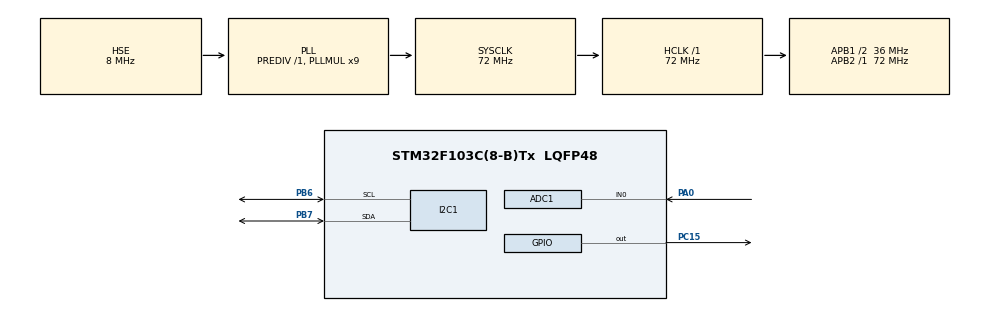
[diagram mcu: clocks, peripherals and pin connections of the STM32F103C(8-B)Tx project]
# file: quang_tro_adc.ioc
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ADC1.Channel-0\#ChannelRegularConversion=ADC_CHANNEL_0
ADC1.ContinuousConvMode=ENABLE
ADC1.NbrOfConversionFlag=1
ADC1.Rank-0\#ChannelRegularConversion=1
ADC1.SamplingTime-0\#ChannelRegularConversion=ADC_SAMPLETIME_239CYCLES_5
ADC1.master=1
Mcu.Family=STM32F1
Mcu.Name=STM32F103C(8-B)Tx
Mcu.Package=LQFP48
NVIC.ADC1_2_IRQn=true\:0\:0\:false\:false\:true\:true\:true\:true
NVIC.PriorityGroup=NVIC_PRIORITYGROUP_4
PA0-WKUP.Signal=ADCx_IN0
PA13.Mode=Serial_Wire
PA13.Signal=SYS_JTMS-SWDIO
PA14.Mode=Serial_Wire
PA14.Signal=SYS_JTCK-SWCLK
PB6.Mode=I2C
PB6.Signal=I2C1_SCL
PB7.Mode=I2C
PB7.Signal=I2C1_SDA
PC15-OSC32_OUT.GPIO_Speed=GPIO_SPEED_FREQ_HIGH
PC15-OSC32_OUT.PinState=GPIO_PIN_SET
PC15-OSC32_OUT.Signal=GPIO_Output
PD0-OSC_IN.Mode=HSE-External-Oscillator
PD0-OSC_IN.Signal=RCC_OSC_IN
PD1-OSC_OUT.Mode=HSE-External-Oscillator
PD1-OSC_OUT.Signal=RCC_OSC_OUT
ProjectManager.HeapSize=0x200
ProjectManager.StackSize=0x400
ProjectManager.TargetToolchain=MDK-ARM V5.32
RCC.ADCPresc=RCC_ADCPCLK2_DIV6
RCC.AHBFreq_Value=72000000
RCC.APB1CLKDivider=RCC_HCLK_DIV2
RCC.APB1Freq_Value=36000000
RCC.APB1TimFreq_Value=72000000
RCC.APB2Freq_Value=72000000
RCC.APB2TimFreq_Value=72000000
RCC.HCLKFreq_Value=72000000
RCC.PLLMUL=RCC_PLL_MUL9
RCC.PLLSourceVirtual=RCC_PLLSOURCE_HSE
RCC.SYSCLKFreq_VALUE=72000000
RCC.SYSCLKSource=RCC_SYSCLKSOURCE_PLLCLK
RCC.USBFreq_Value=72000000
SH.ADCx_IN0.0=ADC1_IN0,IN0
board=custom

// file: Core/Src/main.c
/* USER CODE BEGIN Header */
/**
  ******************************************************************************
  * @file           : main.c
  * @brief          : Main program body
  ******************************************************************************
  * @attention
  *
  * Copyright (c) 2022 STMicroelectronics.
  * All rights reserved.
  *
  * This software is licensed under terms that can be found in the LICENSE file
  * in the root directory of this software component.
  * If no LICENSE file comes with this software, it is provided AS-IS.
  *
  ******************************************************************************
  */
/* USER CODE END Header */
#include "main.h"

/* USER CODE BEGIN Includes */
#include "i2c-lcd.h"
/* USER CODE END Includes */

 ADC_HandleTypeDef hadc1;

I2C_HandleTypeDef hi2c1;

void SystemClock_Config(void);
static void MX_GPIO_Init(void);
static void MX_I2C1_Init(void);
static void MX_ADC1_Init(void);

/* USER CODE BEGIN 0 */
#define MAX_SAMPLE 30
typedef struct
{
	uint8_t index;
	uint8_t flag;
	uint32_t val;
	uint32_t tAdc;
	uint32_t sum;
}ADC_TypeDef_t;

ADC_TypeDef_t adc;

void HAL_ADC_ConvCpltCallback(ADC_HandleTypeDef *hadc)
{
	adc.sum += HAL_ADC_GetValue(hadc);
	adc.index++;
	if(adc.index == (MAX_SAMPLE-1))
	{
		adc.val = adc.sum/MAX_SAMPLE;
		adc.sum = 0;
		adc.flag = 1;
		adc.index = 0;
	}
	HAL_ADC_Stop_IT(hadc);
}
/* USER CODE END 0 */

int main(void)
{

  /* MCU Configuration--------------------------------------------------------*/

  /* Reset of all peripherals, Initializes the Flash interface and the Systick. */
  HAL_Init();

  /* Configure the system clock */
  SystemClock_Config();

  /* Initialize all configured peripherals */
  MX_GPIO_Init();
  MX_I2C1_Init();
  MX_ADC1_Init();
  /* USER CODE BEGIN 2 */
	HAL_ADCEx_Calibration_Start(&hadc1);
	lcd_init();
  /* USER CODE END 2 */

  /* Infinite loop */
  while (1)
  {

    /* USER CODE BEGIN 3 */
		if(HAL_GetTick() - adc.tAdc >= 10)
		{
			HAL_ADC_Start_IT(&hadc1);
			adc.tAdc = HAL_GetTick();
		}
		if(adc.flag)
		{
			if(adc.val < 3000)
				{
					HAL_GPIO_WritePin(GPIOC, GPIO_PIN_15, GPIO_PIN_RESET);
					lcd_put_cur(0,0);
					lcd_send_string("LED tat");
					lcd_send_cmd(0x80|0x40);s
					lcd_send_string("Gia tri QT: ");
					lcd_send_data(((adc.val)/1000) + 48);
					lcd_send_data((((adc.val)%1000)/100) + 48);
					lcd_send_data((((adc.val)%100)/10) + 48);
					lcd_send_data(((adc.val)%10) + 48);
				}
			if(adc.val >= 3000)
			{
					HAL_GPIO_WritePin(GPIOC, GPIO_PIN_15, GPIO_PIN_SET);
					lcd_put_cur(0,0);
					lcd_send_string("LED sang");
					lcd_send_cmd(0x80|0x40);
					lcd_send_string("Gia tri QT: ");
					lcd_send_data(((adc.val)/1000) + 48);
					lcd_send_data((((adc.val)%1000)/100) + 48);
					lcd_send_data((((adc.val)%100)/10) + 48);
					lcd_send_data(((adc.val)%10) + 48);
			}
			adc.flag = 0;
		}
  }
  /* USER CODE END 3 */
}

void SystemClock_Config(void)
{
  RCC_OscInitTypeDef RCC_OscInitStruct = {0};
  RCC_ClkInitTypeDef RCC_ClkInitStruct = {0};
  RCC_PeriphCLKInitTypeDef PeriphClkInit = {0};

  /** Initializes the RCC Oscillators according to the specified parameters
  * in the RCC_OscInitTypeDef structure.
  */
  RCC_OscInitStruct.OscillatorType = RCC_OSCILLATORTYPE_HSE;
  RCC_OscInitStruct.HSEState = RCC_HSE_ON;
  RCC_OscInitStruct.HSEPredivValue = RCC_HSE_PREDIV_DIV1;
  RCC_OscInitStruct.HSIState = RCC_HSI_ON;
  RCC_OscInitStruct.PLL.PLLState = RCC_PLL_ON;
  RCC_OscInitStruct.PLL.PLLSource = RCC_PLLSOURCE_HSE;
  RCC_OscInitStruct.PLL.PLLMUL = RCC_PLL_MUL9;
  if (HAL_RCC_OscConfig(&RCC_OscInitStruct) != HAL_OK)
  {
    Error_Handler();
  }

  /** Initializes the CPU, AHB and APB buses clocks
  */
  RCC_ClkInitStruct.ClockType = RCC_CLOCKTYPE_HCLK|RCC_CLOCKTYPE_SYSCLK
                              |RCC_CLOCKTYPE_PCLK1|RCC_CLOCKTYPE_PCLK2;
  RCC_ClkInitStruct.SYSCLKSource = RCC_SYSCLKSOURCE_PLLCLK;
  RCC_ClkInitStruct.AHBCLKDivider = RCC_SYSCLK_DIV1;
  RCC_ClkInitStruct.APB1CLKDivider = RCC_HCLK_DIV2;
  RCC_ClkInitStruct.APB2CLKDivider = RCC_HCLK_DIV1;

  if (HAL_RCC_ClockConfig(&RCC_ClkInitStruct, FLASH_LATENCY_2) != HAL_OK)
  {
    Error_Handler();
  }
  PeriphClkInit.PeriphClockSelection = RCC_PERIPHCLK_ADC;
  PeriphClkInit.AdcClockSelection = RCC_ADCPCLK2_DIV6;
  if (HAL_RCCEx_PeriphCLKConfig(&PeriphClkInit) != HAL_OK)
  {
    Error_Handler();
  }
}

static void MX_ADC1_Init(void)
{

  ADC_ChannelConfTypeDef sConfig = {0};

  /** Common config
  */
  hadc1.Instance = ADC1;
  hadc1.Init.ScanConvMode = ADC_SCAN_DISABLE;
  hadc1.Init.ContinuousConvMode = ENABLE;
  hadc1.Init.DiscontinuousConvMode = DISABLE;
  hadc1.Init.ExternalTrigConv = ADC_SOFTWARE_START;
  hadc1.Init.DataAlign = ADC_DATAALIGN_RIGHT;
  hadc1.Init.NbrOfConversion = 1;
  if (HAL_ADC_Init(&hadc1) != HAL_OK)
  {
    Error_Handler();
  }

  /** Configure Regular Channel
  */
  sConfig.Channel = ADC_CHANNEL_0;
  sConfig.Rank = ADC_REGULAR_RANK_1;
  sConfig.SamplingTime = ADC_SAMPLETIME_239CYCLES_5;
  if (HAL_ADC_ConfigChannel(&hadc1, &sConfig) != HAL_OK)
  {
    Error_Handler();
  }

}

static void MX_I2C1_Init(void)
{

  hi2c1.Instance = I2C1;
  hi2c1.Init.ClockSpeed = 100000;
  hi2c1.Init.DutyCycle = I2C_DUTYCYCLE_2;
  hi2c1.Init.OwnAddress1 = 0;
  hi2c1.Init.AddressingMode = I2C_ADDRESSINGMODE_7BIT;
  hi2c1.Init.DualAddressMode = I2C_DUALADDRESS_DISABLE;
  hi2c1.Init.OwnAddress2 = 0;
  hi2c1.Init.GeneralCallMode = I2C_GENERALCALL_DISABLE;
  hi2c1.Init.NoStretchMode = I2C_NOSTRETCH_DISABLE;
  if (HAL_I2C_Init(&hi2c1) != HAL_OK)
  {
    Error_Handler();
  }

}

static void MX_GPIO_Init(void)
{
  GPIO_InitTypeDef GPIO_InitStruct = {0};

  /* GPIO Ports Clock Enable */
  __HAL_RCC_GPIOC_CLK_ENABLE();
  __HAL_RCC_GPIOD_CLK_ENABLE();
  __HAL_RCC_GPIOA_CLK_ENABLE();
  __HAL_RCC_GPIOB_CLK_ENABLE();

  /*Configure GPIO pin Output Level */
  HAL_GPIO_WritePin(GPIOC, GPIO_PIN_15, GPIO_PIN_SET);

  /*Configure GPIO pin : PC15 */
  GPIO_InitStruct.Pin = GPIO_PIN_15;
  GPIO_InitStruct.Mode = GPIO_MODE_OUTPUT_PP;
  GPIO_InitStruct.Pull = GPIO_NOPULL;
  GPIO_InitStruct.Speed = GPIO_SPEED_FREQ_HIGH;
  HAL_GPIO_Init(GPIOC, &GPIO_InitStruct);

}

void Error_Handler(void)
{
  __disable_irq();
  while (1)
  {
  }
}
